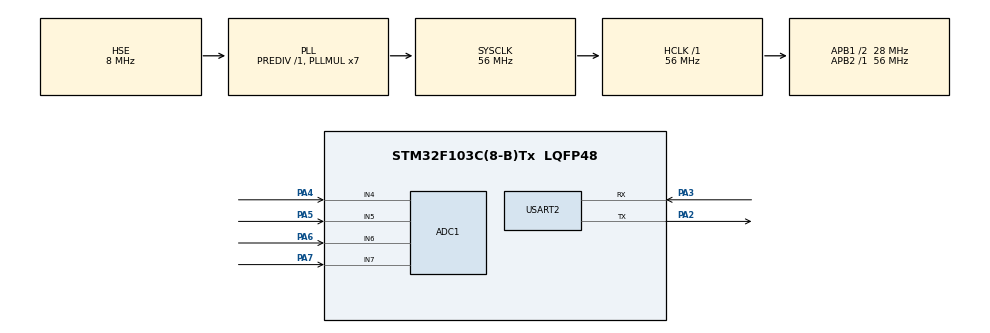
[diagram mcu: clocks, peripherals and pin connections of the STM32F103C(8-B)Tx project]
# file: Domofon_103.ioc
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ADC1.Channel-0\#ChannelRegularConversion=ADC_CHANNEL_4
ADC1.Channel-1\#ChannelRegularConversion=ADC_CHANNEL_5
ADC1.Channel-2\#ChannelRegularConversion=ADC_CHANNEL_6
ADC1.Channel-3\#ChannelRegularConversion=ADC_CHANNEL_7
ADC1.ContinuousConvMode=ENABLE
ADC1.NbrOfConversion=4
ADC1.NbrOfConversionFlag=1
ADC1.Rank-0\#ChannelRegularConversion=1
ADC1.Rank-1\#ChannelRegularConversion=2
ADC1.Rank-2\#ChannelRegularConversion=3
ADC1.Rank-3\#ChannelRegularConversion=4
ADC1.SamplingTime-0\#ChannelRegularConversion=ADC_SAMPLETIME_239CYCLES_5
ADC1.SamplingTime-1\#ChannelRegularConversion=ADC_SAMPLETIME_239CYCLES_5
ADC1.SamplingTime-2\#ChannelRegularConversion=ADC_SAMPLETIME_239CYCLES_5
ADC1.SamplingTime-3\#ChannelRegularConversion=ADC_SAMPLETIME_239CYCLES_5
ADC1.master=1
Dma.ADC1.0.Direction=DMA_PERIPH_TO_MEMORY
Dma.ADC1.0.Instance=DMA1_Channel1
Dma.ADC1.0.MemDataAlignment=DMA_MDATAALIGN_WORD
Dma.ADC1.0.MemInc=DMA_MINC_ENABLE
Dma.ADC1.0.Mode=DMA_CIRCULAR
Dma.ADC1.0.PeriphDataAlignment=DMA_PDATAALIGN_WORD
Dma.ADC1.0.PeriphInc=DMA_PINC_DISABLE
Dma.ADC1.0.Priority=DMA_PRIORITY_LOW
Dma.Request0=ADC1
Mcu.Family=STM32F1
Mcu.Name=STM32F103C(8-B)Tx
Mcu.Package=LQFP48
NVIC.DMA1_Channel1_IRQn=true\:0\:0\:false\:false\:true\:false\:true
NVIC.PriorityGroup=NVIC_PRIORITYGROUP_4
NVIC.TIM4_IRQn=true\:15\:0\:false\:false\:true\:false\:true
NVIC.TimeBase=TIM4_IRQn
NVIC.TimeBaseIP=TIM4
PA13.Mode=Serial_Wire
PA13.Signal=SYS_JTMS-SWDIO
PA14.Mode=Serial_Wire
PA14.Signal=SYS_JTCK-SWCLK
PA2.Mode=Asynchronous
PA2.Signal=USART2_TX
PA3.Mode=Asynchronous
PA3.Signal=USART2_RX
PA4.Signal=ADCx_IN4
PA5.Signal=ADCx_IN5
PA6.Signal=ADCx_IN6
PA7.Signal=ADCx_IN7
PD0-OSC_IN.Mode=HSE-External-Oscillator
PD0-OSC_IN.Signal=RCC_OSC_IN
PD1-OSC_OUT.Mode=HSE-External-Oscillator
PD1-OSC_OUT.Signal=RCC_OSC_OUT
ProjectManager.HeapSize=0x200
ProjectManager.StackSize=0x400
ProjectManager.TargetToolchain=STM32CubeIDE
RCC.ADCPresc=RCC_ADCPCLK2_DIV4
RCC.AHBFreq_Value=56000000
RCC.APB1CLKDivider=RCC_HCLK_DIV2
RCC.APB1Freq_Value=28000000
RCC.APB1TimFreq_Value=56000000
RCC.APB2Freq_Value=56000000
RCC.APB2TimFreq_Value=56000000
RCC.HCLKFreq_Value=56000000
RCC.PLLMUL=RCC_PLL_MUL7
RCC.PLLSourceVirtual=RCC_PLLSOURCE_HSE
RCC.SYSCLKFreq_VALUE=56000000
RCC.SYSCLKSource=RCC_SYSCLKSOURCE_PLLCLK
RCC.USBFreq_Value=56000000
SH.ADCx_IN4.0=ADC1_IN4,IN4
SH.ADCx_IN5.0=ADC1_IN5,IN5
SH.ADCx_IN6.0=ADC1_IN6,IN6
SH.ADCx_IN7.0=ADC1_IN7,IN7
USART2.VirtualMode=VM_ASYNC
VP_SYS_VS_tim4.Mode=TIM4
board=custom

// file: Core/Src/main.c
/* USER CODE BEGIN Header */
/**
 ******************************************************************************
 * @file           : main.c
 * @brief          : Main program body
 ******************************************************************************
 * @attention
 *
 * Copyright (c) 2022 STMicroelectronics.
 * All rights reserved.
 *
 * This software is licensed under terms that can be found in the LICENSE file
 * in the root directory of this software component.
 * If no LICENSE file comes with this software, it is provided AS-IS.
 *
 ******************************************************************************
 */
/* USER CODE END Header */
#include "main.h"

/* USER CODE BEGIN Includes */
#include "string.h" // это для функции strlen()
#include <stdio.h> /* для printf */

uint8_t z = 255;

uint32_t pause = 0;
uint32_t time_key = 0;
uint32_t flag = 1;
uint32_t clicks = 0;
uint8_t key_state = 0;
uint8_t short_state = 0;
uint8_t long_state = 0;
/* USER CODE END Includes */

ADC_HandleTypeDef hadc1;
DMA_HandleTypeDef hdma_adc1;

UART_HandleTypeDef huart2;

void SystemClock_Config(void);
static void MX_GPIO_Init(void);
static void MX_DMA_Init(void);
static void MX_ADC1_Init(void);
static void MX_USART2_UART_Init(void);
/* USER CODE BEGIN PFP */
int _write(int file, char *ptr, int len) {
	int i;
	HAL_UART_Transmit(&huart2, (uint8_t*) ptr, len, 50);
	for (i = 0; i < len; i++) {
		ITM_SendChar(*ptr++);
	}
	return len;
}
/* USER CODE END PFP */

/* USER CODE BEGIN 0 */
uint32_t VR[4]; // Создали массив для 4-х элиментов!
uint8_t btnstatus[3] = {0,0,0}; // Массив статусов кнопок
uint32_t millis = 0;
/* USER CODE END 0 */

int main(void) {

	/* MCU Configuration--------------------------------------------------------*/

	/* Reset of all peripherals, Initializes the Flash interface and the Systick. */
	HAL_Init();

	/* Configure the system clock */
	SystemClock_Config();

	/* Initialize all configured peripherals */
	MX_GPIO_Init();
	MX_DMA_Init();
	MX_ADC1_Init();
	MX_USART2_UART_Init();
	/* USER CODE BEGIN 2 */
	HAL_ADC_Start_DMA(&hadc1, VR, 4); // Стартуем АЦП a 4 -это количество каналов.
	printf("Hello world! \r\n");

	uint8_t btn0(void) {
		if (VR[0] > 150 && VR[3] > 150) {
			btnstatus[0] = 1;
			z = 0;
		} else {
			btnstatus[0] = 0;
		}
		return btnstatus[0]; // возвращаем значение btnstatus для кнопки 0
	}
	uint8_t btn1(void) {
		if (VR[1] > 150 && VR[3] > 150) {
			btnstatus[1] = 1;
			z = 1;
		} else {
			btnstatus[1] = 0;
		}
		return btnstatus[1]; // возвращаем значение btnstatus для кнопки 1
	}
	uint8_t btn2(void) {
		if (VR[2] > 150 && VR[3] > 150) {
			btnstatus[2] = 1;
			z = 2;
		} else {
			btnstatus[2] = 0;
		}
		return btnstatus[2]; // возвращаем значение btnstatus для кнопки 2
	}

	uint32_t keyboard(uint8_t a) {
		if(btnstatus[0] == 1){
			key_state = 1;
		}else if(btnstatus[1] == 1){
			key_state = 1;
		}else if(btnstatus[2] == 1){
			key_state = 1;
		}else{
			key_state = 0;
		}

		if (key_state == 1 && !short_state && (millis - time_key) > 150) {
			short_state = 1;
			long_state = 0;
			time_key = millis;
		} else if (key_state == 1 && !long_state && (millis - time_key) > 500) //1000
				{
			long_state = 1;
			// действие на длинное нажатие
			printf("LONG press on the BTN-%d\r\n ",z);
		} else if (key_state == 0 && short_state && (millis - time_key) > 150) {
			short_state = 0;
			time_key = millis;

			if (!long_state) {
				// действие на короткое нажатие
				if (flag == 1) {
					pause = millis;
				}
				if ((millis - pause) <= 500) { //700
					clicks++;
					flag = 0;
					//printf("pause start clicks = %ld \r\n", clicks);
				}
			}
		}

		if ((millis - pause) > 501) { //1000

			// действие на 1 короткое нажатие
			if (clicks == 1) {
				printf("SINGLE click on the BTN-%d\r\n",z);
			}
			// действие на 2 коротких нажатие
			if (clicks == 2) {
				printf("DOUBLE clicks on the BTN-%d\r\n",z);
			}
			// действие на 3 коротких нажатие
			if (clicks == 3) {
				printf("TRIPLE clicks on the BTN-%d\r\n",z);
			}

			clicks = 0;
			flag = 1;
		}
		return 0;
	}

	/* USER CODE END 2 */

	/* Infinite loop */
	while (1) {

		/* USER CODE BEGIN 3 */
		millis = HAL_GetTick();

		keyboard(btn0());
		keyboard(btn1());
		keyboard(btn2());
	}
	/* USER CODE END 3 */
}

void SystemClock_Config(void) {
	RCC_OscInitTypeDef RCC_OscInitStruct = { 0 };
	RCC_ClkInitTypeDef RCC_ClkInitStruct = { 0 };
	RCC_PeriphCLKInitTypeDef PeriphClkInit = { 0 };

	/** Initializes the RCC Oscillators according to the specified parameters
	 * in the RCC_OscInitTypeDef structure.
	 */
	RCC_OscInitStruct.OscillatorType = RCC_OSCILLATORTYPE_HSE;
	RCC_OscInitStruct.HSEState = RCC_HSE_ON;
	RCC_OscInitStruct.HSEPredivValue = RCC_HSE_PREDIV_DIV1;
	RCC_OscInitStruct.HSIState = RCC_HSI_ON;
	RCC_OscInitStruct.PLL.PLLState = RCC_PLL_ON;
	RCC_OscInitStruct.PLL.PLLSource = RCC_PLLSOURCE_HSE;
	RCC_OscInitStruct.PLL.PLLMUL = RCC_PLL_MUL7;
	if (HAL_RCC_OscConfig(&RCC_OscInitStruct) != HAL_OK) {
		Error_Handler();
	}
	/** Initializes the CPU, AHB and APB buses clocks
	 */
	RCC_ClkInitStruct.ClockType = RCC_CLOCKTYPE_HCLK | RCC_CLOCKTYPE_SYSCLK
			| RCC_CLOCKTYPE_PCLK1 | RCC_CLOCKTYPE_PCLK2;
	RCC_ClkInitStruct.SYSCLKSource = RCC_SYSCLKSOURCE_PLLCLK;
	RCC_ClkInitStruct.AHBCLKDivider = RCC_SYSCLK_DIV1;
	RCC_ClkInitStruct.APB1CLKDivider = RCC_HCLK_DIV2;
	RCC_ClkInitStruct.APB2CLKDivider = RCC_HCLK_DIV1;

	if (HAL_RCC_ClockConfig(&RCC_ClkInitStruct, FLASH_LATENCY_2) != HAL_OK) {
		Error_Handler();
	}
	PeriphClkInit.PeriphClockSelection = RCC_PERIPHCLK_ADC;
	PeriphClkInit.AdcClockSelection = RCC_ADCPCLK2_DIV4;
	if (HAL_RCCEx_PeriphCLKConfig(&PeriphClkInit) != HAL_OK) {
		Error_Handler();
	}
}

static void MX_ADC1_Init(void) {

	ADC_ChannelConfTypeDef sConfig = { 0 };

	/** Common config
	 */
	hadc1.Instance = ADC1;
	hadc1.Init.ScanConvMode = ADC_SCAN_ENABLE;
	hadc1.Init.ContinuousConvMode = ENABLE;
	hadc1.Init.DiscontinuousConvMode = DISABLE;
	hadc1.Init.ExternalTrigConv = ADC_SOFTWARE_START;
	hadc1.Init.DataAlign = ADC_DATAALIGN_RIGHT;
	hadc1.Init.NbrOfConversion = 4;
	if (HAL_ADC_Init(&hadc1) != HAL_OK) {
		Error_Handler();
	}
	/** Configure Regular Channel
	 */
	sConfig.Channel = ADC_CHANNEL_4;
	sConfig.Rank = ADC_REGULAR_RANK_1;
	sConfig.SamplingTime = ADC_SAMPLETIME_239CYCLES_5;
	if (HAL_ADC_ConfigChannel(&hadc1, &sConfig) != HAL_OK) {
		Error_Handler();
	}
	/** Configure Regular Channel
	 */
	sConfig.Channel = ADC_CHANNEL_5;
	sConfig.Rank = ADC_REGULAR_RANK_2;
	if (HAL_ADC_ConfigChannel(&hadc1, &sConfig) != HAL_OK) {
		Error_Handler();
	}
	/** Configure Regular Channel
	 */
	sConfig.Channel = ADC_CHANNEL_6;
	sConfig.Rank = ADC_REGULAR_RANK_3;
	if (HAL_ADC_ConfigChannel(&hadc1, &sConfig) != HAL_OK) {
		Error_Handler();
	}
	/** Configure Regular Channel
	 */
	sConfig.Channel = ADC_CHANNEL_7;
	sConfig.Rank = ADC_REGULAR_RANK_4;
	if (HAL_ADC_ConfigChannel(&hadc1, &sConfig) != HAL_OK) {
		Error_Handler();
	}

}

static void MX_USART2_UART_Init(void) {

	huart2.Instance = USART2;
	huart2.Init.BaudRate = 115200;
	huart2.Init.WordLength = UART_WORDLENGTH_8B;
	huart2.Init.StopBits = UART_STOPBITS_1;
	huart2.Init.Parity = UART_PARITY_NONE;
	huart2.Init.Mode = UART_MODE_TX_RX;
	huart2.Init.HwFlowCtl = UART_HWCONTROL_NONE;
	huart2.Init.OverSampling = UART_OVERSAMPLING_16;
	if (HAL_UART_Init(&huart2) != HAL_OK) {
		Error_Handler();
	}

}

static void MX_DMA_Init(void) {

	/* DMA controller clock enable */
	__HAL_RCC_DMA1_CLK_ENABLE();

	/* DMA interrupt init */
	/* DMA1_Channel1_IRQn interrupt configuration */
	HAL_NVIC_SetPriority(DMA1_Channel1_IRQn, 0, 0);
	HAL_NVIC_EnableIRQ(DMA1_Channel1_IRQn);

}

static void MX_GPIO_Init(void) {

	/* GPIO Ports Clock Enable */
	__HAL_RCC_GPIOD_CLK_ENABLE();
	__HAL_RCC_GPIOA_CLK_ENABLE();

}

void HAL_TIM_PeriodElapsedCallback(TIM_HandleTypeDef *htim) {
	if (htim->Instance == TIM4) {
		HAL_IncTick();
	}
}

void Error_Handler(void) {
	__disable_irq();
	while (1) {
	}
}
